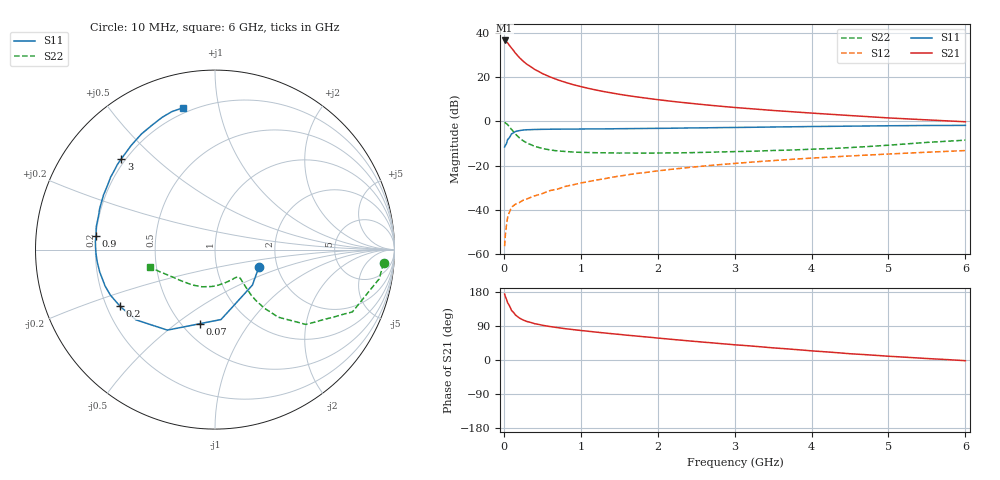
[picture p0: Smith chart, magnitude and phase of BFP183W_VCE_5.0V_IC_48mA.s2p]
! Infineon Technologies  Discrete & RF Semiconductors
! BFP183W
! VCE =  5.0 V,  IC =  48 mA
! Common Emitter S-Parameters:  Jan 2017
# GHz  S  MA  R  50
!  f  S11  S21  S12  S22
! GHz  MAG  ANG  MAG  ANG  MAG  ANG  MAG  ANG
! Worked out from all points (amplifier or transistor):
!   77 points, 10 MHz to 6 GHz, reference 50 ohm
!   highest |S21| = 36.6 dB at 10 MHz (marker M1)
!   |S21| within 3 dB of that: start of sweep to 89.49 MHz
!   unconditionally stable (mu >= 1): 653 MHz to 3.371 GHz
!   at 130 MHz: K = 0.41, MSG = 34.9 dB, |S12| = -38.1 dB
!   at 2.2 GHz: K = 1.07, MAG = 13.7 dB, |S12| = -21.6 dB
!   at 6 GHz: K = 0.86, MSG = 6.5 dB, |S12| = -13.2 dB
!   S11 on the Smith chart (normalised r, x): 10 MHz: 1.60, -0.34; 70 MHz: 0.61, -0.61; 200 MHz: 0.25, -0.26; 900 MHz: 0.20, +0.05; 3 GHz: 0.18, +0.39; 6 GHz: 0.17, +0.78
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0.01  0.263 -21.7  67.51 174.1  0.0015 82.8  0.9421 -4.6
0.02  0.2873 -43.4  66.05 167.4  0.0027 93.6  0.9293 -10.1
0.05  0.3911 -85.1  59.29 150.8  0.0068 64.5  0.8406 -24.4
0.07  0.4221 -101.8  53.02 144.1  0.0086 60.2  0.7606 -29.6
0.1  0.5212 -120.6  45.44 130.8  0.0114 56.4  0.6556 -39.5
0.15  0.5892 -138.4  35.02 119.0  0.0133 51.9  0.5156 -46.9
0.2  0.6161 -149.1  27.9 111.1  0.0145 52.2  0.4263 -49.9
0.25  0.6356 -156.5  23.04 105.6  0.0164 51.5  0.3652 -51.2
0.3  0.6452 -161.7  19.52 101.6  0.0176 50.2  0.3234 -51.5
0.4  0.6543 -169.0  14.97 95.8  0.0206 56.4  0.2717 -50.6
0.5  0.6597 -173.9  12.07 91.7  0.0232 58.5  0.2434 -49.8
0.6  0.6631 -177.9  10.12 88.3  0.0271 59.8  0.2255 -49.2
0.7  0.6654 179.0  8.686 85.4  0.0294 62.7  0.2139 -48.6
0.9  0.667 173.5  6.767 80.2  0.0367 64.7  0.2019 -49.5
1.1  0.6738 169.0  5.568 75.8  0.0433 66.0  0.1971 -51.1
1.5  0.6812 161.0  4.094 67.6  0.0577 67.1  0.1919 -57.0
2.1  0.6959 150.1  2.952 56.1  0.0793 65.3  0.1923 -70.6
3  0.7264 136.0  2.059 40.1  0.1115 60.5  0.2067 -95.6
3.1  0.7292 134.6  1.997 38.7  0.1151 59.9  0.2083 -98.4
4.1  0.7659 121.2  1.498 22.7  0.1507 53.5  0.2371 -125.6
5.1  0.7958 110.8  1.17 8.8  0.1857 46.6  0.2969 -151.3
6  0.8098 102.9  0.977 -1.8  0.2183 40.1  0.3751 -165.1
